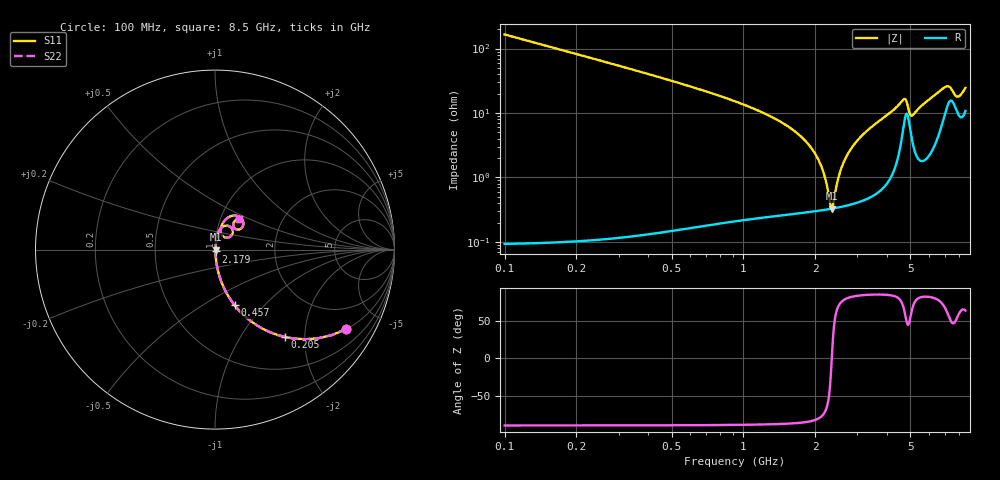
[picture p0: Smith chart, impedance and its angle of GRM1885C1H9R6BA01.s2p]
!Murata Part Number: GRM1885C1H9R6BA01
!These Parameters are Measured in Series Mode Connection
!Data Generated on Mar 30, 2021
!  o--ll--o
!Port1  Port2
!  o------o
!Operation Temp=25[degC], DC Bias Voltage=0[V]
!Freq. Start=100[MHz] Stop=9[GHz] 401[Steps]
# Hz S RI R 50
!Freq.(Hz) S11(Real) S11(Imag) S21(Real) S21(Imag) S12(Real) S12(Imag) S22(Real) S22(Imag)
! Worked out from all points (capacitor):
!   401 points, 100 MHz to 8.5 GHz, reference 50 ohm
!   read as one part in series: C = 9.6 pF near 142 MHz
!   lowest |Z| = 329 mohm at 2.347 GHz (marker M1)
!   series resonance near 2.344 GHz, so ESL is about 480 pH
!   S11 on the Smith chart (normalised r, x): 100 MHz: 1.00, -3.31; 205 MHz: 1.00, -1.60; 457 MHz: 1.00, -0.70; 2.179 GHz: 1.01, -0.02; 8.5 GHz: 1.22, +0.44
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1e8  0.7324 -0.4424  0.2676 0.4424  0.2676 0.4424  0.7324 -0.4424
2.05e8  0.3917 -0.4875  0.6083 0.4875  0.6083 0.4875  0.3917 -0.4875
3.1e8  0.2167 -0.4109  0.7833 0.4109  0.7833 0.4109  0.2167 -0.4109
4.57e8  0.1094 -0.3101  0.8906 0.3101  0.8906 0.3101  0.1094 -0.3101
8.56e8  0.0292 -0.1626  0.9708 0.1626  0.9708 0.1626  0.0292 -0.1626
1.507e9  0.00679 -0.0644  0.9932 0.0644  0.9932 0.0644  0.00679 -0.0644
1.927e9  0.00373 -0.0281  0.9963 0.0281  0.9963 0.0281  0.00373 -0.0281
2.074e9  0.00336 -0.0176  0.9966 0.0176  0.9966 0.0176  0.00336 -0.0176
2.179e9  0.00324 -0.0105  0.9968 0.0105  0.9968 0.0105  0.00324 -0.0105
2.305e9  0.00324 -0.00243  0.9968 0.00243  0.9968 0.00243  0.00324 -0.00243
2.347e9  0.00327 0.000175  0.9967 -0.000175  0.9967 -0.000175  0.00327 0.000175
2.578e9  0.00369 0.0139  0.9963 -0.0139  0.9963 -0.0139  0.00369 0.0139
2.725e9  0.00416 0.0221  0.9958 -0.0221  0.9958 -0.0221  0.00416 0.0221
2.914e9  0.00498 0.0324  0.995 -0.0324  0.995 -0.0324  0.00498 0.0324
3.397e9  0.00824 0.0576  0.9918 -0.0576  0.9918 -0.0576  0.00824 0.0576
4.3e9  0.0262 0.1108  0.9738 -0.1108  0.9738 -0.1108  0.0262 0.1108
4.72e9  0.0858 0.126  0.9142 -0.126  0.9142 -0.126  0.0858 0.126
5.056e9  0.0462 0.0733  0.9538 -0.0733  0.9538 -0.0733  0.0462 0.0733
5.707e9  0.036 0.1318  0.964 -0.1318  0.964 -0.1318  0.036 0.1318
7.114e9  0.1448 0.1757  0.8552 -0.1757  0.8552 -0.1757  0.1448 0.1757
7.849e9  0.1099 0.1178  0.8901 -0.1178  0.8901 -0.1178  0.1099 0.1178
8.5e9  0.1314 0.1724  0.8686 -0.1724  0.8686 -0.1724  0.1314 0.1724
